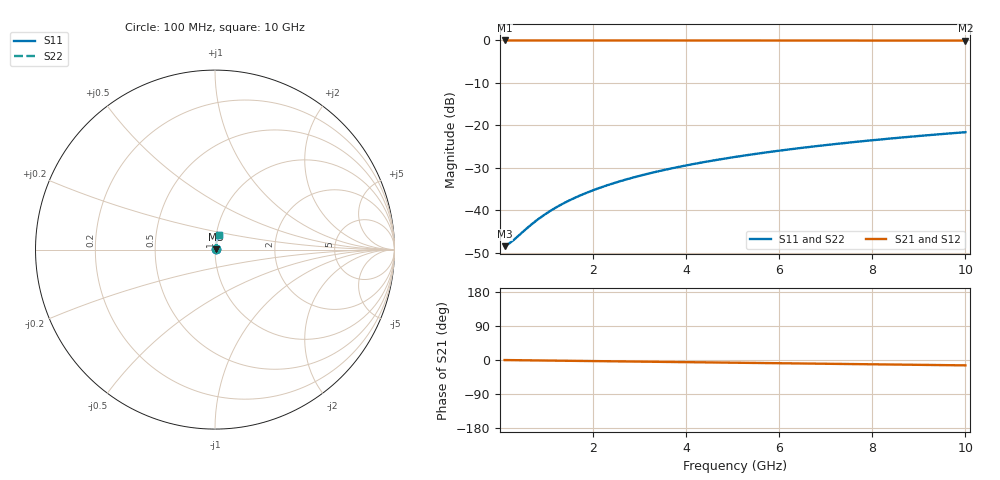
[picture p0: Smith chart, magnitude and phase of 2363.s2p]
# Hz S RI R 50.00
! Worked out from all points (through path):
!   100 points, 100 MHz to 10 GHz, reference 50 ohm
!   highest |S21| = -0.03 dB at 100 MHz (marker M1); lowest = -0.1 dB at 10 GHz (marker M2)
!   group delay of S21, straight-line fit = 3.94 ps
!   lowest |S11| = -48.4 dB at 100 MHz (marker M3), VSWR 1.01, Z = 50.4 + j0.0837 ohm
!   |S11| at or under -10 dB: start of sweep to end of sweep
!   |S22| runs from -48.4 to -21.6 dB; largest |S21 - S12| = 0
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1e8  0.0037 0.000831  0.9963 -0.00247  0.9963 -0.00247  0.0037 0.000831
2e8  0.00373 0.00166  0.9963 -0.00493  0.9963 -0.00493  0.00373 0.00166
3e8  0.00376 0.00249  0.9962 -0.0074  0.9962 -0.0074  0.00376 0.00249
7e8  0.00388 0.00581  0.996 -0.0173  0.996 -0.0173  0.00388 0.00581
8e8  0.00392 0.00664  0.996 -0.0197  0.996 -0.0197  0.00392 0.00664
1e9  0.00401 0.0083  0.9958 -0.0247  0.9958 -0.0247  0.00401 0.0083
1.2e9  0.00412 0.00996  0.9957 -0.0296  0.9957 -0.0296  0.00412 0.00996
1.4e9  0.00424 0.0116  0.9955 -0.0345  0.9955 -0.0345  0.00424 0.0116
1.6e9  0.00437 0.0133  0.9953 -0.0394  0.9953 -0.0394  0.00437 0.0133
1.8e9  0.00452 0.0149  0.995 -0.0444  0.995 -0.0444  0.00452 0.0149
2.1e9  0.00477 0.0174  0.9946 -0.0517  0.9946 -0.0517  0.00477 0.0174
2.5e9  0.00517 0.0207  0.994 -0.0616  0.994 -0.0616  0.00517 0.0207
2.9e9  0.00563 0.024  0.9932 -0.0714  0.9932 -0.0714  0.00563 0.024
3.4e9  0.00629 0.0281  0.9921 -0.0837  0.9921 -0.0837  0.00629 0.0281
3.8e9  0.00689 0.0313  0.9911 -0.0935  0.9911 -0.0935  0.00689 0.0313
4.2e9  0.00756 0.0346  0.99 -0.1033  0.99 -0.1033  0.00756 0.0346
5.1e9  0.0093 0.0419  0.9871 -0.1253  0.9871 -0.1253  0.0093 0.0419
5.9e9  0.0111 0.0482  0.9841 -0.1447  0.9841 -0.1447  0.0111 0.0482
6.7e9  0.0132 0.0545  0.9807 -0.1641  0.9807 -0.1641  0.0132 0.0545
7.5e9  0.0155 0.0607  0.9769 -0.1834  0.9769 -0.1834  0.0155 0.0607
8.4e9  0.0184 0.0676  0.972 -0.2049  0.972 -0.2049  0.0184 0.0676
1e10  0.0242 0.0794  0.9622 -0.2429  0.9622 -0.2429  0.0242 0.0794
